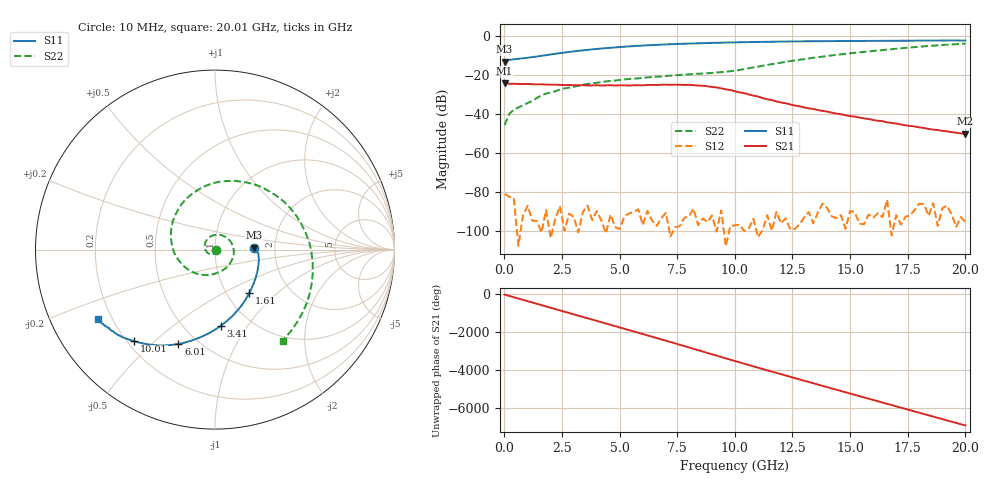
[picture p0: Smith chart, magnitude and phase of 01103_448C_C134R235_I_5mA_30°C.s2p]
!;Filter: kein Filter
!auto
!3/21/2019 9:27:39 AM
!3/21/2019 9:27:53 AM
!SP-Measurements Prober G4
!SP-Measurements Prober G4
!01103_448C
!134
!235
!12
!30
!-20
!0.00499992
!1.96
!0.64375220
!0.64375220
# Hz S  RI  R 50
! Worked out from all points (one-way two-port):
!   101 points, 10 MHz to 20.01 GHz, reference 50 ohm
!   highest |S21| = -24.32 dB at 10 MHz (marker M1); lowest = -50.2 dB at 20.01 GHz (marker M2)
!   lowest |S11| = -13.2 dB at 10 MHz (marker M3), VSWR 1.56, Z = 77.8 + j1.61 ohm
!   |S11| at or under -10 dB: start of sweep to 1.747 GHz
!   |S22| runs from -45.7 to -4.0 dB; largest |S21 - S12| = 0.061
!   S11 on the Smith chart (normalised r, x): 10 MHz: 1.56, +0.03; 1.61 GHz: 1.27, -0.68; 3.41 GHz: 0.74, -0.76; 6.01 GHz: 0.40, -0.61; 10.01 GHz: 0.23, -0.43; 20.01 GHz: 0.15, -0.27
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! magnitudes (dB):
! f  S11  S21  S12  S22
! 10 MHz  -13.2  -24.3  -81.0  -45.7
! 210 MHz  -12.3  -24.5  -82.4  -40.0
! 410 MHz  -12.0  -24.5  -83.1  -37.9
! 1.21 GHz  -10.9  -24.8  -94.6  -33.4
! 1.61 GHz  -10.2  -24.8  -100.7  -30.4
! 2.61 GHz  -8.6  -25.2  -99.9  -26.9
! 3.41 GHz  -7.4  -25.3  -90.1  -25.1
! 4.41 GHz  -6.3  -25.4  -101.1  -23.3
! 6.01 GHz  -5.0  -25.4  -96.8  -21.5
! 6.81 GHz  -4.5  -25.0  -93.3  -20.8
! 8.01 GHz  -4.0  -25.1  -92.5  -19.7
! 8.61 GHz  -3.7  -25.5  -93.5  -19.3
! 9.21 GHz  -3.6  -26.4  -100.2  -18.8
! 10.01 GHz  -3.3  -28.4  -97.0  -17.8
! 10.41 GHz  -3.3  -29.3  -100.0  -17.0
! 12.01 GHz  -3.0  -34.1  -96.0  -13.8
! 13.01 GHz  -2.8  -36.6  -93.0  -11.9
! 13.41 GHz  -2.8  -37.4  -96.0  -11.3
! 14.81 GHz  -2.7  -40.7  -98.8  -9.2
! 16.81 GHz  -2.5  -44.6  -102.1  -6.8
! 18.61 GHz  -2.4  -48.0  -85.7  -5.0
! 20.01 GHz  -2.4  -50.2  -95.4  -4.0
